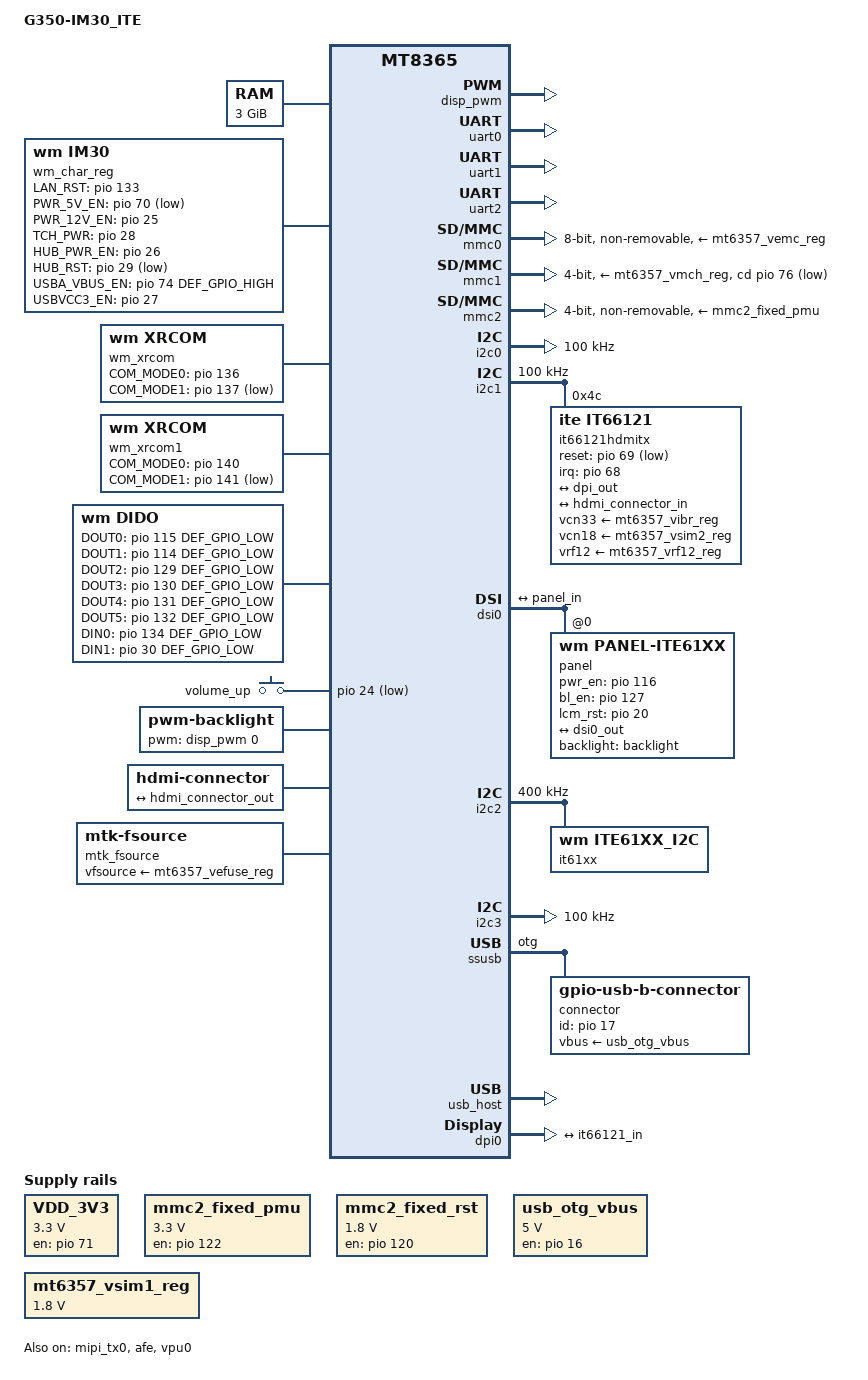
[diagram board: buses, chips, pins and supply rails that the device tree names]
// SPDX-License-Identifier: GPL-2.0
/*
 * Copyright (c) 2021 BayLibre, SAS.
 * Author: Fabien Parent <fparent@baylibre.com>
 */

/dts-v1/;

#include <dt-bindings/gpio/gpio.h>
#include <dt-bindings/input/input.h>
#include <dt-bindings/pinctrl/mt8365-pinfunc.h>
#include "mt8365.dtsi"
#include "mt6357.dtsi"
#include <dt-bindings/panel/paneltype.h>

#define DEF_GPIO_HIGH   1
#define DEF_GPIO_LOW    0

/ {
	model = "G350-IM30_ITE";
	compatible = "mediatek,mt8365-evk", "mediatek,mt8365";


	aliases {
		serial0 = &uart0;
		mmc0 = &mmc0;
		mmc1 = &mmc1;
		mmc2 = &mmc2;
	};

	memory@40000000 {
		device_type = "memory";
		reg = <0 0x40000000 0 0xc0000000>;
	};

	chosen {
		stdout-path = "serial0:921600n8";
	};

	firmware {
		optee {
			compatible = "linaro,optee-tz";
			method = "smc";
		};
	};

	wm_char_reg {
			compatible		= "wm,im30";
			pinctrl-names	= "default";
			pinctrl-0		= <&wm_char_pins>;
			LAN_RST			= <&pio 133 GPIO_ACTIVE_HIGH>;

			//PWR_3P3V_EN		= <&pio 71 GPIO_ACTIVE_HIGH>;
			PWR_5V_EN		= <&pio 70 GPIO_ACTIVE_LOW>;
			PWR_12V_EN		= <&pio 25 GPIO_ACTIVE_HIGH>;
			TCH_PWR			= <&pio 28 GPIO_ACTIVE_HIGH>;

			HUB_PWR_EN		= <&pio 26 GPIO_ACTIVE_HIGH>;
			HUB_RST			= <&pio 29 GPIO_ACTIVE_LOW>; // def low

			USBA_VBUS_EN	= <&pio 74 DEF_GPIO_HIGH>;
			USBVCC3_EN		= <&pio 27 GPIO_ACTIVE_HIGH>;
			USBVCC2_EN		= <&pio 18 GPIO_ACTIVE_HIGH>;

			RFID_EN			= <&pio 142 GPIO_ACTIVE_HIGH>;
			SPK1_EN			= <&pio 22 GPIO_ACTIVE_HIGH>;

			//WWAN_PWR_EN     = <&pio 144 GPIO_ACTIVE_HIGH>;
			//WWAN_PWR_CARD 	= <&pio 86 GPIO_ACTIVE_HIGH>; //WWAN_CARD_PWR_OFF_N
			//WWAN_DPR        = <&pio 138 GPIO_ACTIVE_HIGH>;
			//WWAN_DIS		= <&pio 119 GPIO_ACTIVE_HIGH>;//WWAN_DISABLE_N
			//WWAN_RST_N      = <&pio 121 GPIO_ACTIVE_HIGH>;
			//WAKE_ON_WAN     = <&pio 124 GPIO_ACTIVE_HIGH>;



			status			= "okay";
        };

 	wm_xrcom{
		compatible		= "wm,xrcom";
		pinctrl-names	= "default";
		pinctrl-0		= <&wm_xrcom1_pins>;
		reg				= <0>;
		COM_MODE0		= <&pio 136 GPIO_ACTIVE_HIGH>;
		COM_MODE1		= <&pio 137 GPIO_ACTIVE_LOW>;
		status			= "okay";
	};

	wm_xrcom1 {
		compatible		= "wm,xrcom";
		pinctrl-names	= "default";
		reg				= <1>;
		pinctrl-0		= <&wm_xrcom2_pins>;
		COM_MODE0		= <&pio 140 GPIO_ACTIVE_HIGH>;
		COM_MODE1		= <&pio 141 GPIO_ACTIVE_LOW>;
		status			= "okay";
	};

	dido: winmate-dido {
		compatible = "wm,dido";
		pinctrl-names = "default";
		pinctrl-0 = <&wm_dido>;
		status = "okay";
		DO-TOTAL = <6>;
		DI-TOTAL = <6>;
		DOUT0    = <&pio 115 DEF_GPIO_LOW>;
		DOUT1    = <&pio 114 DEF_GPIO_LOW>;
		DOUT2    = <&pio 129 DEF_GPIO_LOW>;
		DOUT3    = <&pio 130 DEF_GPIO_LOW>;
		DOUT4    = <&pio 131 DEF_GPIO_LOW>;
		DOUT5    = <&pio 132 DEF_GPIO_LOW>;
		DIN0     = <&pio 134 DEF_GPIO_LOW>;
		DIN1     = <&pio 30 DEF_GPIO_LOW>;
		DIN2     = <&pio 31 DEF_GPIO_LOW>;
		DIN3     = <&pio 32 DEF_GPIO_LOW>;
		DIN4     = <&pio 33 DEF_GPIO_LOW>;
		DIN5     = <&pio 34 DEF_GPIO_LOW>;
	};
	
	gpio-keys {
		compatible = "gpio-keys";
		input-name = "gpio-keys";
		pinctrl-names = "default";
		pinctrl-0 = <&gpio_keys>;

		volume-up {
			gpios = <&pio 24 GPIO_ACTIVE_LOW>;
			label = "volume_up";
			linux,code = <KEY_VOLUMEUP>;
			wakeup-source;
			debounce-interval = <15>;
		};
	};
	
	VDD_3V3: VDD-3V3 {
		compatible = "regulator-fixed";
		regulator-name = "VDD-3V3";
		regulator-min-microvolt = <3300000>;
		regulator-max-microvolt = <3300000>;
		gpio = <&pio 71 GPIO_ACTIVE_HIGH>;
		regulator-boot-on;
		enable-active-high;
		regulator-always-on;
	};

	mmc2_fixed_pmu: regulator@0 {
		compatible = "regulator-fixed";
		regulator-name = "mmc2_pmu";
		regulator-min-microvolt = <3300000>;
		regulator-max-microvolt = <3300000>;
		gpio = <&pio 122 GPIO_ACTIVE_HIGH>;
		regulator-boot-on;
		regulator-always-on;
		enable-active-high;
	};

	mmc2_fixed_rst: regulator@1 {
		compatible = "regulator-fixed";
		regulator-name = "mmc2_rst";
		regulator-min-microvolt = <1800000>;
		regulator-max-microvolt = <1800000>;
		gpio = <&pio 120 0>;
		enable-active-high;
	};

	sound: sound {
		compatible = "mediatek,mt8365-evk";
		mediatek,platform = <&afe>;
		pinctrl-names = "aud_mosi_on",
			"aud_mosi_off",
			"aud_miso_on",
			"aud_miso_off",
			"default",
			"aud_dmic";
		pinctrl-0 = <&aud_pins_mosi_on>;
		pinctrl-1 = <&aud_pins_mosi_off>;
		pinctrl-2 = <&aud_pins_miso_on>;
		pinctrl-3 = <&aud_pins_miso_off>;
		pinctrl-4 = <&aud_pins_default>;
		pinctrl-5 = <&aud_pins_dmic>;
		status = "okay";

		dai-link-hdmi {
			sound-dai = <&afe>;
			dai-link-name = "2ND I2S BE";

			codec-0 {
				sound-dai = <&it66121hdmitx>;
			};
		};
	};

	reserved-memory {
		#address-cells = <2>;
		#size-cells = <2>;
		ranges;

		/* 12 MiB reserved for OP-TEE (BL32)
		 * +-----------------------+ 0x43e0_0000
		 * |      SHMEM 2MiB       |
		 * +-----------------------+ 0x43c0_0000
		 * |        | TA_RAM  8MiB |
		 * + TZDRAM +--------------+ 0x4340_0000
		 * |        | TEE_RAM 2MiB |
		 * +-----------------------+ 0x4320_0000
		 */
		optee_reserved: optee@43200000 {
			no-map;
			reg = <0 0x43200000 0 0x00c00000>;
		};

		vpu_ram: vpu_ram@0x60000000 {
			 compatible = "shared-dma-pool";
			 reg = <0 0x60000000 0 0x04000000>;
			 no-map;
			 linux,cma-default;
		 };

		/* global autoconfigured region for contiguous allocations */
		linux,cma {
			compatible = "shared-dma-pool";
			reusable;
			size = <0x00000000 0x01c00000>;
			linux,cma-default;
		};
	};

	usb_otg_vbus: usb-otg-vbus-regulator {
		compatible = "regulator-fixed";
		regulator-name = "otg_vbus";
		regulator-min-microvolt = <5000000>;
		regulator-max-microvolt = <5000000>;
		gpio = <&pio 16 GPIO_ACTIVE_HIGH>;
		enable-active-high;
	};

	apu@0 {
		compatible = "mediatek,apu-drm";
		remoteproc = <&vpu0>;
		iova = <0 0x60000000 0 0x10000000>;
	};

	backlight: backlight {
		compatible = "pwm-backlight";
		pwms = <&disp_pwm 0 PWM_FREQ>;
		pinctrl-names = "default";
		pinctrl-0 = <&pwm_pins>;
		brightness-levels = <40 1023>;
		num-interpolated-steps = <1023>;
		default-brightness-level = <576>;
		status = "okay";
	};

	connector {
		compatible = "hdmi-connector";
		label = "hdmi";
		type = "d";
		status = "okay";

		port {
			hdmi_connector_in: endpoint {
				remote-endpoint = <&hdmi_connector_out>;
			};
		};
	};

	mtk_fsource: fsource {
		compatible = "mtk-fsource";
		vfsource-supply = <&mt6357_vefuse_reg>;
	};
};


&disp_pwm {
	status = "okay";
};

&mt6357codec {
	use_hp_depop_flow = <0>; /* select 1: use, 0: not use */
	use_ul_260k = <0>; /* select 1: use, 0: not use */
};

&mt6357_pmic {
	interrupt-parent = <&pio>;
	interrupts = <145 IRQ_TYPE_LEVEL_HIGH>;
	interrupt-controller;
	#interrupt-cells = <2>;
};

&cpu0 {
	proc-supply = <&mt6357_vproc_reg>;
	sram-supply = <&mt6357_vsram_proc_reg>;
};

&cpu1 {
	proc-supply = <&mt6357_vproc_reg>;
	sram-supply = <&mt6357_vsram_proc_reg>;
};

&cpu2 {
	proc-supply = <&mt6357_vproc_reg>;
	sram-supply = <&mt6357_vsram_proc_reg>;
};

&cpu3 {
	proc-supply = <&mt6357_vproc_reg>;
	sram-supply = <&mt6357_vsram_proc_reg>;
};

&mt6357_vrf12_reg {
	regulator-always-on;
};

&mt6357_vaud28_reg {
	regulator-always-on;
};

/* Needed by MSDC1 */
&mt6357_vmc_reg {
	regulator-always-on;
};

&uart0 {
	pinctrl-0 = <&uart0_pins>;
	pinctrl-names = "default";
	status = "okay";
};

&uart1 {
	pinctrl-0 = <&uart1_pins>;
	pinctrl-names = "default";
	status = "okay";
};

&uart2 {
	pinctrl-0 = <&uart2_pins>;
	pinctrl-names = "default";
	status = "okay";
};

&keypad {
	status = "disabled";
};

&mmc0 {
	status = "okay";
	pinctrl-names = "default", "state_uhs";
	pinctrl-0 = <&mmc0_pins_default>;
	pinctrl-1 = <&mmc0_pins_uhs>;
	bus-width = <8>;
	max-frequency = <200000000>;
	cap-mmc-highspeed;
	mmc-hs200-1_8v;
	mmc-hs400-1_8v;
	cap-mmc-hw-reset;
	no-sdio;
	no-sd;
	hs400-ds-delay = <0x12012>;
	vmmc-supply = <&mt6357_vemc_reg>;
	vqmmc-supply = <&mt6357_vio18_reg>;
	assigned-clocks = <&topckgen CLK_TOP_MSDC50_0_SEL>;
	assigned-clock-parents = <&topckgen CLK_TOP_MSDCPLL>;
	non-removable;
};

&mmc1 {
	pinctrl-names = "default", "state_uhs";
	pinctrl-0 = <&mmc1_pins_default>;
	pinctrl-1 = <&mmc1_pins_uhs>;
	cd-gpios = <&pio 76 GPIO_ACTIVE_LOW>;
	bus-width = <4>;
	max-frequency = <200000000>;
	cap-sd-highspeed;
	sd-uhs-sdr50;
	sd-uhs-sdr104;
	vmmc-supply = <&mt6357_vmch_reg>;
	vqmmc-supply = <&mt6357_vio18_reg>;
	status = "okay";
};

&mmc2 {
	pinctrl-names = "default", "state_uhs";
	pinctrl-0 = <&mmc2_pins_default>;
	pinctrl-1 = <&mmc2_pins_uhs>;
	bus-width = <4>;
	max-frequency = <200000000>;
	cap-sd-highspeed;
	sd-uhs-sdr25;
	sd-uhs-sdr50;
	sd-uhs-sdr104;
	keep-power-in-suspend;
	enable-sdio-wakeup;
	cap-sdio-irq;
	hs400-ds-delay = <0x12012>;
	vmmc-supply = <&mmc2_fixed_pmu>;
	vqmmc-supply = <&mmc2_fixed_rst>;
	assigned-clocks = <&topckgen CLK_TOP_MSDC50_2_SEL>;
	assigned-clock-parents = <&topckgen CLK_TOP_MSDCPLL>;
	non-removable;
	status = "okay";
};

&i2c0 {
	pinctrl-names = "default";
	pinctrl-0 = <&i2c0_pins>;
	clock-frequency = <100000>;
	#address-cells = <1>;
	#size-cells = <0>;
	status = "okay";
};

&i2c1 {
	pinctrl-names = "default";
	pinctrl-0 = <&i2c1_pins>;
	clock-frequency = <100000>;
	status = "okay";
	clock-div = <2>;

	it66121hdmitx: it66121hdmitx@4c {
		compatible = "ite,it66121";
		pinctrl-names = "default";
		pinctrl-0 = <&ite_pins>;
		vcn33-supply = <&mt6357_vibr_reg>;
		vcn18-supply = <&mt6357_vsim2_reg>;
		vrf12-supply = <&mt6357_vrf12_reg>;
		reset-gpios = <&pio 69 GPIO_ACTIVE_LOW>;
		interrupt-parent = <&pio>;
		interrupts = <68 IRQ_TYPE_LEVEL_LOW>;
		reg = <0x4c>;
		pclk-dual-edge;

		#sound-dai-cells = <0>;
		status = "okay";

		ports {
			#address-cells = <1>;
			#size-cells = <0>;

			port@0 {
				it66121_in: endpoint {
					bus-width = <12>;
					remote-endpoint = <&dpi_out>;
				};
			};

			port@1 {
				reg = <1>;
				hdmi_connector_out: endpoint {
					remote-endpoint = <&hdmi_connector_in>;
				};
			};
		};
	};

};


&dsi0 {
	#address-cells = <1>;
	#size-cells = <0>;
	status = "okay";
	poweron-in-hs-mode = <1>; //high clock mode
	panel@wm {
		compatible = "wm,panel-ite61xx";
		backlight = <&backlight>;
		reg = <0>;
		pinctrl-names = "default";
		pinctrl-0 = <&panel_pins_default>;
		pwr_en-gpios = <&pio 116 GPIO_ACTIVE_HIGH>;
		bl_en-gpios = <&pio 127 GPIO_ACTIVE_HIGH>;
		lcm_rst-gpios = <&pio 20 GPIO_ACTIVE_HIGH>;
        status = "okay";
		port {
			panel_in: endpoint {
				remote-endpoint = <&dsi0_out>;
			};
		};
	};
	port {
		dsi0_out: endpoint {
			remote-endpoint = <&panel_in>;
		};
	};
};

&i2c2 {
	pinctrl-names = "default";
	pinctrl-0 = <&i2c2_pins>;
	clock-frequency = <400000>;
	status = "okay";
	it61xx: mipi2xxx@ite{
		compatible = "wm,ite61xx_i2c";
		reg = <MAIN_I2C_ADDR>;
		status = "okay";
	};
};

&i2c3 {
	pinctrl-names = "default";
	pinctrl-0 = <&i2c3_pins>;
	clock-frequency = <100000>;
	status = "okay";
};

&ssusb {
	pinctrl-0 = <&usb_pins>;
	pinctrl-names = "default";
	maximum-speed = "high-speed";
	usb-role-switch;
	dr_mode = "otg";
	vusb33-supply = <&mt6357_vusb33_reg>;
	status = "okay";
	connector {
		compatible = "gpio-usb-b-connector", "usb-b-connector";
		type = "micro";
		id-gpios = <&pio 17 GPIO_ACTIVE_HIGH>;
		vbus-supply = <&usb_otg_vbus>;
	};
};

&usb_host {
	vusb33-supply = <&mt6357_vusb33_reg>;
	status = "okay";
};

&mipi_tx0 {
	status = "okay";
};

&dpi0 {
	dpi_dual_edge;
	dpi_pin_mode_swap;
	pinctrl-names = "default", "sleep";
	pinctrl-0 = <&dpi_pin_func>;
	pinctrl-1 = <&dpi_pin_gpio>;
	status = "okay";


	port {
		dpi_out: endpoint {
			remote-endpoint = <&it66121_in>;
		};
	};
};

&mt6357keys {
	/delete-node/ home-key;

	volume-down {
		label = "volume_down";
		linux,keycodes = <KEY_VOLUMEDOWN>;
		wakeup-source;
	};
};

&mt6357_vibr_reg {
	regulator-always-on;
};

&mt6357_vsim1_reg {
	regulator-min-microvolt = <1800000>;
	regulator-max-microvolt = <1800000>;
};

&mt6357_vsim2_reg {
	regulator-always-on;
};

&pio {
	pinctrl-0 = <&pio_default>;
	pinctrl-names = "default";

	pio_default: pio-default {
		rpi-header-pins {
			pinmux = 
				 <MT8365_PIN_109_NRNB__FUNC_GPIO109>,
				 <MT8365_PIN_139_CONN_WB_PTA__FUNC_GPIO139>;
		};
	};

	uart0_pins: uart0-pins {
		pins {
			pinmux = <MT8365_PIN_35_URXD0__FUNC_URXD0>,
				 <MT8365_PIN_36_UTXD0__FUNC_UTXD0>;
		};
	};

	uart1_pins: uart1-pins {
		pins {
			pinmux = <MT8365_PIN_37_URXD1__FUNC_URXD1>,
				 <MT8365_PIN_38_UTXD1__FUNC_UTXD1>;
		};
	};

	uart2_pins: uart2-pins {
		pins {
			pinmux = <MT8365_PIN_39_URXD2__FUNC_URXD2>,
				 <MT8365_PIN_40_UTXD2__FUNC_UTXD2>;
		};
	};

	mmc0_pins_default: mmc0default {
		pins_cmd_dat {
			pinmux = <MT8365_PIN_103_MSDC0_DAT0__FUNC_MSDC0_DAT0>,
				 <MT8365_PIN_102_MSDC0_DAT1__FUNC_MSDC0_DAT1>,
				 <MT8365_PIN_101_MSDC0_DAT2__FUNC_MSDC0_DAT2>,
				 <MT8365_PIN_100_MSDC0_DAT3__FUNC_MSDC0_DAT3>,
				 <MT8365_PIN_96_MSDC0_DAT4__FUNC_MSDC0_DAT4>,
				 <MT8365_PIN_95_MSDC0_DAT5__FUNC_MSDC0_DAT5>,
				 <MT8365_PIN_94_MSDC0_DAT6__FUNC_MSDC0_DAT6>,
				 <MT8365_PIN_93_MSDC0_DAT7__FUNC_MSDC0_DAT7>,
				 <MT8365_PIN_98_MSDC0_CMD__FUNC_MSDC0_CMD>;
			input-enable;
			bias-pull-up;
		};

		pins_clk {
			pinmux = <MT8365_PIN_99_MSDC0_CLK__FUNC_MSDC0_CLK>;
			bias-pull-down;
		};

		pins_rst {
			pinmux = <MT8365_PIN_97_MSDC0_RSTB__FUNC_MSDC0_RSTB>;
			bias-pull-up;
		};
	};

	mmc0_pins_uhs: mmc0@0{
		pins_cmd_dat {
			pinmux = <MT8365_PIN_103_MSDC0_DAT0__FUNC_MSDC0_DAT0>,
				 <MT8365_PIN_102_MSDC0_DAT1__FUNC_MSDC0_DAT1>,
				 <MT8365_PIN_101_MSDC0_DAT2__FUNC_MSDC0_DAT2>,
				 <MT8365_PIN_100_MSDC0_DAT3__FUNC_MSDC0_DAT3>,
				 <MT8365_PIN_96_MSDC0_DAT4__FUNC_MSDC0_DAT4>,
				 <MT8365_PIN_95_MSDC0_DAT5__FUNC_MSDC0_DAT5>,
				 <MT8365_PIN_94_MSDC0_DAT6__FUNC_MSDC0_DAT6>,
				 <MT8365_PIN_93_MSDC0_DAT7__FUNC_MSDC0_DAT7>,
				 <MT8365_PIN_98_MSDC0_CMD__FUNC_MSDC0_CMD>;
			input-enable;
			drive-strength = <MTK_DRIVE_10mA>;
			bias-pull-up = <MTK_PUPD_SET_R1R0_01>;
		};

		pins_clk {
			pinmux = <MT8365_PIN_99_MSDC0_CLK__FUNC_MSDC0_CLK>;
			drive-strength = <MTK_DRIVE_10mA>;
			bias-pull-down = <MTK_PUPD_SET_R1R0_10>;
		};

		pins_ds {
			pinmux = <MT8365_PIN_104_MSDC0_DSL__FUNC_MSDC0_DSL>;
			drive-strength = <MTK_DRIVE_10mA>;
			bias-pull-down = <MTK_PUPD_SET_R1R0_10>;
		};

		pins_rst {
			pinmux = <MT8365_PIN_97_MSDC0_RSTB__FUNC_MSDC0_RSTB>;
			drive-strength = <MTK_DRIVE_10mA>;
			bias-pull-up;
		};
	};

	mmc1_pins_default: mmc1default {
		pins_cmd_dat {
			pinmux = <MT8365_PIN_89_MSDC1_DAT0__FUNC_MSDC1_DAT0>,
				 <MT8365_PIN_90_MSDC1_DAT1__FUNC_MSDC1_DAT1>,
				 <MT8365_PIN_91_MSDC1_DAT2__FUNC_MSDC1_DAT2>,
				 <MT8365_PIN_92_MSDC1_DAT3__FUNC_MSDC1_DAT3>,
				 <MT8365_PIN_87_MSDC1_CMD__FUNC_MSDC1_CMD>;
			input-enable;
			bias-pull-up = <MTK_PUPD_SET_R1R0_01>;
		};

		pins_clk {
			pinmux = <MT8365_PIN_88_MSDC1_CLK__FUNC_MSDC1_CLK>;
			bias-pull-down = <MTK_PUPD_SET_R1R0_10>;
		};

		pin_cd {
			pinmux = <MT8365_PIN_76_CMDAT8__FUNC_GPIO76>;
			bias-pull-up;
		};
	};

	mmc1_pins_uhs: mmc1@0 {
		pins_cmd_dat {
			pinmux = <MT8365_PIN_89_MSDC1_DAT0__FUNC_MSDC1_DAT0>,
				 <MT8365_PIN_90_MSDC1_DAT1__FUNC_MSDC1_DAT1>,
				 <MT8365_PIN_91_MSDC1_DAT2__FUNC_MSDC1_DAT2>,
				 <MT8365_PIN_92_MSDC1_DAT3__FUNC_MSDC1_DAT3>,
				 <MT8365_PIN_87_MSDC1_CMD__FUNC_MSDC1_CMD>;
			input-enable;
			drive-strength = <MTK_DRIVE_6mA>;
			bias-pull-up = <MTK_PUPD_SET_R1R0_01>;
		};

		pins_clk {
			pinmux = <MT8365_PIN_88_MSDC1_CLK__FUNC_MSDC1_CLK>;
			drive-strength = <MTK_DRIVE_8mA>;
			bias-pull-down = <MTK_PUPD_SET_R1R0_10>;
		};
	};

	mmc2_pins_default: mmc2default {
		pins_cmd_dat {
			pinmux = <MT8365_PIN_82_MSDC2_DAT0__FUNC_MSDC2_DAT0>,
				 <MT8365_PIN_83_MSDC2_DAT1__FUNC_MSDC2_DAT1>,
				 <MT8365_PIN_84_MSDC2_DAT2__FUNC_MSDC2_DAT2>,
				 <MT8365_PIN_85_MSDC2_DAT3__FUNC_MSDC2_DAT3>,
				 <MT8365_PIN_80_MSDC2_CMD__FUNC_MSDC2_CMD>;
			input-enable;
			drive-strength = <MTK_DRIVE_4mA>;
			bias-pull-up = <MTK_PUPD_SET_R1R0_01>;
		};

		pins_clk {
			pinmux = <MT8365_PIN_81_MSDC2_CLK__FUNC_MSDC2_CLK>;
			drive-strength = <MTK_DRIVE_4mA>;
			bias-pull-down = <MTK_PUPD_SET_R1R0_10>;
		};

		pins_wifi_pwr_en {
			pinmux = <MT8365_PIN_122_DMIC1_DAT1__FUNC_GPIO122>;
			output-high;
		};

		pins_sysrstb_en {
			pinmux = <MT8365_PIN_120_DMIC1_CLK__FUNC_GPIO120>;
			output-low;
		};
	};

	mmc2_pins_uhs: mmc2@0 {
		pins_cmd_dat {
			pinmux = <MT8365_PIN_82_MSDC2_DAT0__FUNC_MSDC2_DAT0>,
				 <MT8365_PIN_83_MSDC2_DAT1__FUNC_MSDC2_DAT1>,
				 <MT8365_PIN_84_MSDC2_DAT2__FUNC_MSDC2_DAT2>,
				 <MT8365_PIN_85_MSDC2_DAT3__FUNC_MSDC2_DAT3>,
				 <MT8365_PIN_80_MSDC2_CMD__FUNC_MSDC2_CMD>;
			input-enable;
			drive-strength = <MTK_DRIVE_8mA>;
			bias-pull-up = <MTK_PUPD_SET_R1R0_01>;
		};

		pin_clk {
			pinmux = <MT8365_PIN_81_MSDC2_CLK__FUNC_MSDC2_CLK>;
			drive-strength = <MTK_DRIVE_8mA>;
			bias-pull-down = <MTK_PUPD_SET_R1R0_10>;
		};


		pins_wifi_pwr_en {
			pinmux = <MT8365_PIN_122_DMIC1_DAT1__FUNC_GPIO122>;
			output-high;
		};

		pins_sysrstb_en {
			pinmux = <MT8365_PIN_120_DMIC1_CLK__FUNC_GPIO120>;
			output-high;
		};
	};

	i2c0_pins: i2c0 {
		pins_i2c {
			pinmux = <MT8365_PIN_57_SDA0__FUNC_SDA0_0>,
				 <MT8365_PIN_58_SCL0__FUNC_SCL0_0>;
			bias-pull-up = <MTK_RSEL_SET_R1R0_11>;
			drive-strength = <MTK_DRIVE_4mA>;
		};
	};


	i2c1_pins: i2c1 {
		pins_i2c {
			pinmux = <MT8365_PIN_59_SDA1__FUNC_SDA1_0>,
				 <MT8365_PIN_60_SCL1__FUNC_SCL1_0>;
			bias-pull-up = <MTK_RSEL_SET_R1R0_11>;
			drive-strength = <MTK_DRIVE_4mA>;
		};
	};

	i2c2_pins: i2c2 {
		pins_i2c {
			pinmux = <MT8365_PIN_61_SDA2__FUNC_SDA2_0>,
				 <MT8365_PIN_62_SCL2__FUNC_SCL2_0>;
			bias-pull-up = <MTK_RSEL_SET_R1R0_11>;
			drive-strength = <MTK_DRIVE_4mA>;
		};
	};

	i2c3_pins: i2c3 {
		pins_i2c {
			pinmux = <MT8365_PIN_63_SDA3__FUNC_SDA3_0>,
				 <MT8365_PIN_64_SCL3__FUNC_SCL3_0>;
			bias-pull-up = <MTK_RSEL_SET_R1R0_11>;
			drive-strength = <MTK_DRIVE_4mA>;
		};
	};

	usb_pins: usb-pins {
		pin_id {
			pinmux = <MT8365_PIN_17_GPIO17__FUNC_IDDIG>;
			input-enable;
			bias-pull-up;
		};

		pin_in_det {//pc_5v to i350
			pinmux = < MT8365_PIN_23_KPROW1__FUNC_GPIO23>;
			input-enable;
			bias-pull-up;
		};

		pin_usb0_vbus {//vbus pwr enable,i350 out_5v to devives
			pinmux = <MT8365_PIN_16_GPIO16__FUNC_USB_DRVVBUS>;
			output-high;
		};
	};

	gpio_keys: gpio-keys {
		pins {
			pinmux = <MT8365_PIN_24_KPCOL0__FUNC_KPCOL0>;
			bias-pull-up;
			input-enable;
		};
	};


	ite_pins: ite-pins {
		pins_rst_ite {
			pinmux = <MT8365_PIN_69_CMDAT1__FUNC_GPIO69>;
			output-high;
		};

		pins_irq_ite {
			pinmux = <MT8365_PIN_68_CMDAT0__FUNC_GPIO68>;
			input-enable;
			bias-pull-up;
		};
	};

	dpi_pin_func: dpi-pin-func {
		pins-func {
			pinmux = <MT8365_PIN_0_GPIO0__FUNC_DPI_D0>,
				 <MT8365_PIN_1_GPIO1__FUNC_DPI_D1>,
				 <MT8365_PIN_2_GPIO2__FUNC_DPI_D2>,
				 <MT8365_PIN_3_GPIO3__FUNC_DPI_D3>,
				 <MT8365_PIN_4_GPIO4__FUNC_DPI_D4>,
				 <MT8365_PIN_5_GPIO5__FUNC_DPI_D5>,
				 <MT8365_PIN_6_GPIO6__FUNC_DPI_D6>,
				 <MT8365_PIN_7_GPIO7__FUNC_DPI_D7>,
				 <MT8365_PIN_8_GPIO8__FUNC_DPI_D8>,
				 <MT8365_PIN_9_GPIO9__FUNC_DPI_D9>,
				 <MT8365_PIN_10_GPIO10__FUNC_DPI_D10>,
				 <MT8365_PIN_11_GPIO11__FUNC_DPI_D11>,
				 <MT8365_PIN_12_GPIO12__FUNC_DPI_DE>,
				 <MT8365_PIN_13_GPIO13__FUNC_DPI_VSYNC>,
				 <MT8365_PIN_14_GPIO14__FUNC_DPI_CK>,
				 <MT8365_PIN_15_GPIO15__FUNC_DPI_HSYNC>;
			drive-strength = <MTK_DRIVE_4mA>;
		};
	};

	dpi_pin_gpio: dpi-pin-gpio {
		pins-gpio {
			pinmux = <MT8365_PIN_0_GPIO0__FUNC_GPIO0>,
				 <MT8365_PIN_1_GPIO1__FUNC_GPIO1>,
				 <MT8365_PIN_2_GPIO2__FUNC_GPIO2>,
				 <MT8365_PIN_3_GPIO3__FUNC_GPIO3>,
				 <MT8365_PIN_4_GPIO4__FUNC_GPIO4>,
				 <MT8365_PIN_5_GPIO5__FUNC_GPIO5>,
				 <MT8365_PIN_6_GPIO6__FUNC_GPIO6>,
				 <MT8365_PIN_7_GPIO7__FUNC_GPIO7>,
				 <MT8365_PIN_8_GPIO8__FUNC_GPIO8>,
				 <MT8365_PIN_9_GPIO9__FUNC_GPIO9>,
				 <MT8365_PIN_10_GPIO10__FUNC_GPIO10>,
				 <MT8365_PIN_11_GPIO11__FUNC_GPIO11>,
				 <MT8365_PIN_12_GPIO12__FUNC_GPIO12>,
				 <MT8365_PIN_13_GPIO13__FUNC_GPIO13>,
				 <MT8365_PIN_14_GPIO14__FUNC_GPIO14>,
				 <MT8365_PIN_15_GPIO15__FUNC_GPIO15>;
		};
	};

	pwm_pins: pwm-pins {
		pins {
			pinmux = <MT8365_PIN_19_DISP_PWM__FUNC_DISP_PWM>;
			bias-disable;
		};
	};

	aud_pins_mosi_on: mosion {
		pins_cmd_dat {
		pinmux = <MT8365_PIN_49_AUD_CLK_MOSI__FUNC_AUD_CLK_MOSI>,
			 <MT8365_PIN_50_AUD_SYNC_MOSI__FUNC_AUD_SYNC_MOSI>,
			 <MT8365_PIN_51_AUD_DAT_MOSI0__FUNC_AUD_DAT_MOSI0>,
			 <MT8365_PIN_52_AUD_DAT_MOSI1__FUNC_AUD_DAT_MOSI1>;
		drive-strength = <MTK_DRIVE_6mA>;
		};
	};

	aud_pins_mosi_off: mosioff {
		pins_cmd_dat {
		pinmux = <MT8365_PIN_49_AUD_CLK_MOSI__FUNC_GPIO49>,
			 <MT8365_PIN_50_AUD_SYNC_MOSI__FUNC_GPIO50>,
			 <MT8365_PIN_51_AUD_DAT_MOSI0__FUNC_GPIO51>,
			 <MT8365_PIN_52_AUD_DAT_MOSI1__FUNC_GPIO52>;
		input-enable;
		bias-pull-down;
		drive-strength = <MTK_DRIVE_2mA>;
		};
	};

	aud_pins_miso_on: misoon {
		pins_cmd_dat {
		pinmux = <MT8365_PIN_53_AUD_CLK_MISO__FUNC_AUD_CLK_MISO>,
			 <MT8365_PIN_54_AUD_SYNC_MISO__FUNC_AUD_SYNC_MISO>,
			 <MT8365_PIN_55_AUD_DAT_MISO0__FUNC_AUD_DAT_MISO0>,
			 <MT8365_PIN_56_AUD_DAT_MISO1__FUNC_AUD_DAT_MISO1>;
		drive-strength = <MTK_DRIVE_6mA>;
		};
	};

	aud_pins_miso_off: misooff {
		pins_cmd_dat {
		pinmux = <MT8365_PIN_53_AUD_CLK_MISO__FUNC_GPIO53>,
			 <MT8365_PIN_54_AUD_SYNC_MISO__FUNC_GPIO54>,
			 <MT8365_PIN_55_AUD_DAT_MISO0__FUNC_GPIO55>,
			 <MT8365_PIN_56_AUD_DAT_MISO1__FUNC_GPIO56>;
		input-enable;
		bias-pull-down;
		drive-strength = <MTK_DRIVE_2mA>;
		};
	};

	aud_pins_default: audiodefault {
		pins_cmd_dat {
		pinmux = <MT8365_PIN_72_CMDAT4__FUNC_I2S3_BCK>,
			 <MT8365_PIN_73_CMDAT5__FUNC_I2S3_LRCK>,
			 <MT8365_PIN_75_CMDAT7__FUNC_I2S3_DO>;
		};
	};

	aud_pins_dmic: audiodmic {
		pins_cmd_dat {
		pinmux = <MT8365_PIN_117_DMIC0_CLK__FUNC_DMIC0_CLK>,
			 <MT8365_PIN_118_DMIC0_DAT0__FUNC_DMIC0_DAT0>;
		};
	};

	wm_char_pins: wm_char_pins {
		pins_gpio {
			pinmux = <MT8365_PIN_22_KPROW0__FUNC_GPIO22>,	//+SPK1_EN
					<MT8365_PIN_25_KPCOL1__FUNC_GPIO25>,	//+V12S_EN
					<MT8365_PIN_70_CMDAT2__FUNC_GPIO70>,	//pwr_5v_en
					<MT8365_PIN_26_SPI_CS__FUNC_GPIO26>,	//HUB_PWR_EN
					<MT8365_PIN_28_SPI_MI__FUNC_GPIO28>,	//TCH_PWRON
					<MT8365_PIN_27_SPI_CK__FUNC_GPIO27>,	//USBVCC3_EN
					<MT8365_PIN_18_GPIO18__FUNC_GPIO18>,	//USBVCC2_EN
					<MT8365_PIN_74_CMDAT6__FUNC_GPIO74>;	// USBA_VBUS_EN
			output-high;
		};

		pin_low {
			pinmux =<MT8365_PIN_142_CONN_WF_CTRL0__FUNC_GPIO142>,	//RFID_PWREN 
					<MT8365_PIN_133_TDM_TX_DATA1__FUNC_GPIO133>,	//LAN_RESET#
					<MT8365_PIN_29_SPI_MO__FUNC_GPIO29>,			//HUB_PLTRST_N
					<MT8365_PIN_144_CONN_WF_CTRL2__FUNC_GPIO144>,	//WWAN_PWR_EN
					<MT8365_PIN_86_MSDC2_DSL__FUNC_GPIO86>,  		//WWAN_CARD_PWR_OFF_N
					<MT8365_PIN_138_CONN_HRST_B__FUNC_GPIO138>,		//WWAN_DPR
					<MT8365_PIN_119_DMIC0_DAT1__FUNC_GPIO119>,		//WWAN_DISABLE_N
					<MT8365_PIN_121_DMIC1_DAT0__FUNC_GPIO121>,		//WWAN_RST_N
					<MT8365_PIN_124_DMIC2_DAT0__FUNC_GPIO124>;		//WAKE_ON_WAN
			output-low;
		};
	};

	panel_pins_default: panel_pins_default {
		pins_gpio {
			pinmux = <MT8365_PIN_116_I2S_BCK__FUNC_GPIO116>,// LCM_ENP
					<MT8365_PIN_20_LCM_RST__FUNC_GPIO20>,//RST
					<MT8365_PIN_127_DMIC3_DAT0__FUNC_GPIO127>;// BKLT_EN
			bias-pull-up;
		};
	};

	wm_xrcom1_pins: wm_xrcom1_pins {
			pins_gpio {
				pinmux = <MT8365_PIN_136_CONN_TOP_CLK__FUNC_GPIO136>,// COM1_SEL0
						<MT8365_PIN_137_CONN_TOP_DATA__FUNC_GPIO137>;// COM1_SEL1
				bias-pull-up;
			};
	};

	wm_xrcom2_pins: wm_xrcom2_pins {
			pins_gpio {
				pinmux = <MT8365_PIN_140_CONN_BT_CLK__FUNC_GPIO140>,// COM2_SEL0
						<MT8365_PIN_141_CONN_BT_DATA__FUNC_GPIO141>;// COM2_SEL1
				bias-pull-up;
			};
	};

	wm_dido: wm_dido {
		pins_gpio {
			pinmux = <MT8365_PIN_115_I2S_LRCK__FUNC_GPIO115>,
					 <MT8365_PIN_114_I2S_DATA_IN__FUNC_GPIO114>,
					 <MT8365_PIN_129_TDM_TX_BCK__FUNC_GPIO129>,
					 <MT8365_PIN_130_TDM_TX_LRCK__FUNC_GPIO130>,
					 <MT8365_PIN_131_TDM_TX_MCK__FUNC_GPIO131>,
					 <MT8365_PIN_132_TDM_TX_DATA0__FUNC_GPIO132>,
					 <MT8365_PIN_134_TDM_TX_DATA2__FUNC_GPIO134>,
					 <MT8365_PIN_30_JTMS__FUNC_GPIO30>,
					 <MT8365_PIN_31_JTCK__FUNC_GPIO31>,
					 <MT8365_PIN_32_JTDI__FUNC_GPIO32>,
					 <MT8365_PIN_33_JTDO__FUNC_GPIO33>,
					 <MT8365_PIN_34_JTRST__FUNC_GPIO34>;
		};
	};


};

&afe {
	mediatek,i2s-clock-modes = <0 1>;
	mediatek,dmic-iir-on = <1>;
	mediatek,dmic-irr-mode = <5>;
	mediatek,dmic-two-wire-mode = <1>;
	status = "okay";
};

&vpu0 {
        memory-region = <&vpu_ram>;
        status = "okay";
};

